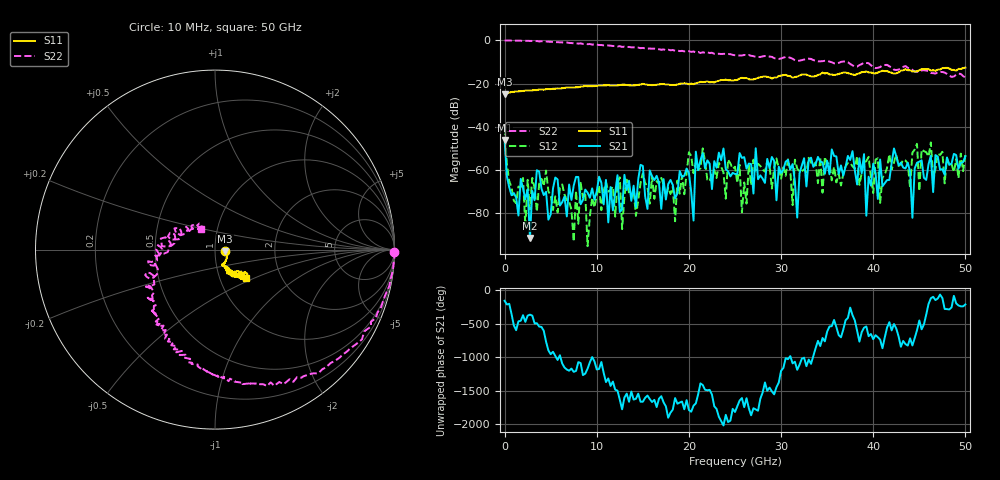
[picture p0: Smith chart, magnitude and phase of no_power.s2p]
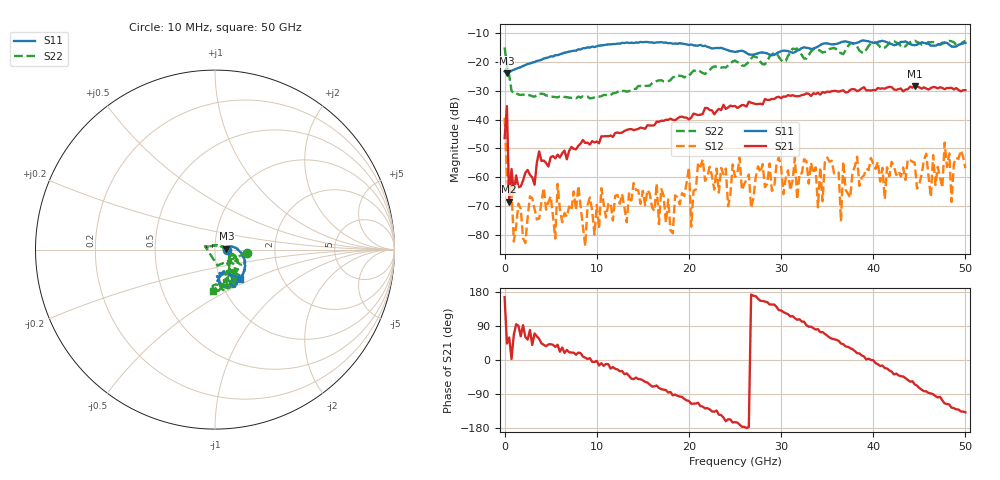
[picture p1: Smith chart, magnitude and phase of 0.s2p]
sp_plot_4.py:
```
import skrf as rf
import matplotlib.pyplot as plt
import os

# 获取脚本所在目录并切换到该目录
script_dir = os.path.dirname(os.path.abspath(__file__))
os.chdir(script_dir)

# 设置一个美观的绘图风格
plt.style.use('seaborn-v0_8-whitegrid')

try:
    # 1. 加载S2P文件（只需要加载一次）
    gain_set=['wo power','0','1','11']
    network = dict.fromkeys(gain_set)

    network['wo power']=rf.Network('no_power.s2p')
    network['0']=rf.Network('0.s2p')
    network['1']=rf.Network('1.s2p')
    network['11']=rf.Network('11.s2p')
    network['111']=rf.Network('111.s2p')
    network['1111']=rf.Network('1111.s2p')
    network['11111']=rf.Network('11111.s2p')
    network['111111']=rf.Network('111111.s2p')
    network['1111111']=rf.Network('1111111.s2p')

    # 2. 定义我们要绘制的S参数列表
    # 每个元组包含: (图表标题, (m, n) 索引)
    plots_to_make = [
        ('S11', (0, 0)),
        ('S22', (1, 1)),
        ('S12', (0, 1)),
        ('S21', (1, 0))
    ]


    # 3. 循环创建、保存并显示每一张图
    for title, (m, n) in plots_to_make:
        print(f"正在生成 {title} 的图表...")
        
        # --- 在循环内部创建新的图和坐标轴 ---
        # 这样可以确保每次都是一张独立的、全新的图
        fig, ax = plt.subplots(figsize=(8, 5))
        
        # 使用scikit-rf的绘图函数，并指定要绘制的S参数
        for g,s in network.items():
            s.plot_s_db(m=m, n=n, ax=ax, label=g)
        
        
        # 自定义图表信息
        ax.set_title(f'S-Parameter Magnitude ({title})')
        ax.set_xlabel('Frequency (Hz)')
        ax.set_ylabel('Magnitude (dB)')
        ax.legend()
        ax.grid(True)
        
        # 调整布局以防标签被裁剪
        plt.tight_layout()
        
        # 定义保存的文件名
        filename = f'{title}_plot.png'
        
        # --- 保存当前这张图 ---
        # 使用高质量设置（300 DPI）并裁剪掉多余的白边
        plt.savefig(filename, dpi=300, bbox_inches='tight')
        print(f"图表已保存到: {filename}")
        
        # --- 显示当前这张图 ---
        # plt.show()会显示图像，并且在窗口关闭后清空画布，为下一张图做准备
        plt.show()

    print("\n所有图表已处理完毕！")

except FileNotFoundError:
    print("错误：未找到'cal_thru.s2p'文件。请确保数据文件与脚本在同一目录下。")
except Exception as e:
    print(f"处理文件时发生错误: {e}")
```
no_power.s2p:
!Agilent Technologies,E8364C,MY43040239,A.09.42.22
!Agilent E8364C: A.09.42.22
!Date: Sunday, September 14, 2025 22:23:11
!Correction: S11(Full 2 Port(1,2))
!S21(Full 2 Port(1,2))
!S12(Full 2 Port(1,2))
!S22(Full 2 Port(1,2))
!S2P File: Measurements: S11, S21, S12, S22:
# Hz S  RI  R 50
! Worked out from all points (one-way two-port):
!   201 points, 10 MHz to 50 GHz, reference 50 ohm
!   highest |S21| = -46.08 dB at 10 MHz (marker M1); lowest = -91.6 dB at 2.759 GHz (marker M2)
!   lowest |S11| = -25.0 dB at 10 MHz (marker M3), VSWR 1.12, Z = 55.9 - j0.977 ohm
!   |S11| at or under -10 dB: start of sweep to end of sweep
!   |S22| runs from -17.2 to 0.0 dB; largest |S21 - S12| = 0.014
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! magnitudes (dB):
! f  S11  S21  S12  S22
! 10 MHz  -25.0  -46.1  -40.3  0.0
! 2.759 GHz  -23.2  -91.6  -78.3  -0.3
! 25 GHz  -18.4  -61.9  -58.5  -6.9
! 30.75 GHz  -16.4  -55.3  -55.1  -7.7
! 31.75 GHz  -16.8  -82.1  -59.4  -9.5
! 32.5 GHz  -15.8  -54.6  -59.7  -8.8
! 39 GHz  -14.6  -52.7  -56.4  -10.2
! 39.25 GHz  -14.4  -81.2  -56.0  -10.4
! 42.25 GHz  -15.4  -50.1  -56.5  -13.6
! 44.25 GHz  -14.4  -82.2  -52.0  -13.6
! 50 GHz  -12.6  -53.7  -53.2  -17.2
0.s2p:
!Agilent Technologies,E8364C,MY43040239,A.09.42.22
!Agilent E8364C: A.09.42.22
!Date: Sunday, September 14, 2025 22:24:03
!Correction: S11(Full 2 Port(1,2))
!S21(Full 2 Port(1,2))
!S12(Full 2 Port(1,2))
!S22(Full 2 Port(1,2))
!S2P File: Measurements: S11, S21, S12, S22:
# Hz S  RI  R 50
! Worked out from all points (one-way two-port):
!   201 points, 10 MHz to 50 GHz, reference 50 ohm
!   highest |S21| = -28.49 dB at 44.5 GHz (marker M1); lowest = -68.5 dB at 509.9 MHz (marker M2)
!   lowest |S11| = -24.0 dB at 259.9 MHz (marker M3), VSWR 1.14, Z = 56.7 + j0.537 ohm
!   |S11| at or under -10 dB: start of sweep to end of sweep
!   |S22| runs from -32.7 to -12.6 dB; largest |S21 - S12| = 0.039
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1e7  0.0682 -0.00284  -0.00461 0.00117  -0.00947 0.00511  0.1769 -0.0181
2.5995e8  0.0631 0.00471  0.0124 0.0118  0.000146 -0.000985  0.014 -0.0887
5.099e8  0.0654 0.00851  0.000191 0.000322  -0.000562 6.75e-05  -0.0555 0.0188
1.825635e10  0.0615 -0.1967  -0.000566 -0.00987  2.03e-05 -0.000104  0.0535 0.0052
2.0006e10  0.0424 -0.1916  -0.00311 -0.00956  -0.00117 0.00089  0.0574 -0.00342
2.5005e10  0.0101 -0.1487  -0.0165 -0.00468  -0.000789 -0.000629  0.1021 -0.0247
3.5003e10  0.1247 -0.1675  0.0131 0.0276  0.000138 -0.00219  0.0909 -0.1242
3.65027e10  0.1119 -0.1885  0.0227 0.0216  -0.000171 4.18e-06  0.0854 -0.113
3.675265e10  0.117 -0.1916  0.024 0.0214  0.00185 0.000236  0.0656 -0.1197
4.45011e10  0.0924 -0.1719  0.0162 -0.034  -0.00092 0.00154  0.0568 -0.2269
5e10  0.1402 -0.1617  -0.0239 -0.0217  -0.000132 -0.00143  -0.00856 -0.2307
